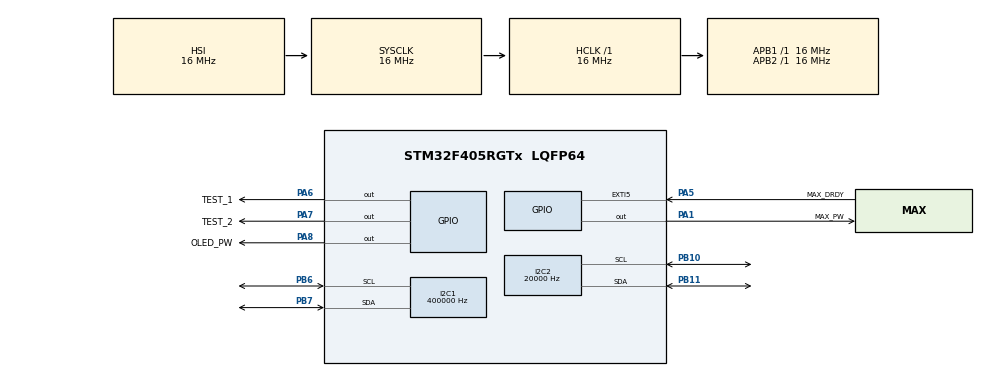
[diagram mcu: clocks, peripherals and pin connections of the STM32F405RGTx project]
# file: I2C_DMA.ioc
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Dma.I2C1_TX.0.Direction=DMA_MEMORY_TO_PERIPH
Dma.I2C1_TX.0.FIFOMode=DMA_FIFOMODE_DISABLE
Dma.I2C1_TX.0.Instance=DMA1_Stream6
Dma.I2C1_TX.0.MemDataAlignment=DMA_MDATAALIGN_BYTE
Dma.I2C1_TX.0.MemInc=DMA_MINC_ENABLE
Dma.I2C1_TX.0.Mode=DMA_NORMAL
Dma.I2C1_TX.0.PeriphDataAlignment=DMA_PDATAALIGN_BYTE
Dma.I2C1_TX.0.PeriphInc=DMA_PINC_DISABLE
Dma.I2C1_TX.0.Priority=DMA_PRIORITY_LOW
Dma.I2C2_TX.1.Direction=DMA_MEMORY_TO_PERIPH
Dma.I2C2_TX.1.FIFOMode=DMA_FIFOMODE_DISABLE
Dma.I2C2_TX.1.Instance=DMA1_Stream7
Dma.I2C2_TX.1.MemDataAlignment=DMA_MDATAALIGN_BYTE
Dma.I2C2_TX.1.MemInc=DMA_MINC_ENABLE
Dma.I2C2_TX.1.Mode=DMA_NORMAL
Dma.I2C2_TX.1.PeriphDataAlignment=DMA_PDATAALIGN_BYTE
Dma.I2C2_TX.1.PeriphInc=DMA_PINC_DISABLE
Dma.I2C2_TX.1.Priority=DMA_PRIORITY_LOW
Dma.Request0=I2C1_TX
Dma.Request1=I2C2_TX
I2C1.ClockSpeed=400000
I2C1.DutyCycle=I2C_DUTYCYCLE_2
I2C1.I2C_Mode=I2C_Fast
I2C2.ClockSpeed=20000
I2C2.DutyCycle=I2C_DUTYCYCLE_2
Mcu.Family=STM32F4
Mcu.Name=STM32F405RGTx
Mcu.Package=LQFP64
NVIC.DMA1_Stream6_IRQn=true\:0\:0\:false\:false\:true
NVIC.DMA1_Stream7_IRQn=true\:0\:0\:false\:false\:true
NVIC.EXTI9_5_IRQn=true\:0\:0\:false\:false\:true
NVIC.I2C1_ER_IRQn=true\:0\:0\:false\:false\:true
NVIC.I2C1_EV_IRQn=true\:0\:0\:false\:false\:true
NVIC.I2C2_ER_IRQn=true\:0\:0\:false\:false\:true
NVIC.I2C2_EV_IRQn=true\:0\:0\:false\:false\:true
NVIC.PriorityGroup=NVIC_PRIORITYGROUP_4
PA1.GPIO_Label=MAX_PW
PA1.PinState=GPIO_PIN_SET
PA1.Signal=GPIO_Output
PA5.GPIO_Label=MAX_DRDY
PA5.GPIO_ModeDefaultEXTI=GPIO_MODE_IT_FALLING
PA5.GPIO_PuPd=GPIO_PULLUP
PA5.Signal=GPXTI5
PA6.GPIO_Label=TEST_1
PA6.Signal=GPIO_Output
PA7.GPIO_Label=TEST_2
PA7.Signal=GPIO_Output
PA8.GPIO_Label=OLED_PW
PA8.PinState=GPIO_PIN_SET
PA8.Signal=GPIO_Output
PB10.Mode=I2C
PB10.Signal=I2C2_SCL
PB11.Mode=I2C
PB11.Signal=I2C2_SDA
PB6.Mode=I2C
PB6.Signal=I2C1_SCL
PB7.Mode=I2C
PB7.Signal=I2C1_SDA
ProjectManager.HeapSize=0x200
ProjectManager.StackSize=0x400
ProjectManager.TargetToolchain=MDK-ARM V5
RCC.AHBCLKDivider=RCC_SYSCLK_DIV1
RCC.AHBFreq_Value=16000000
RCC.APB1CLKDivider=RCC_HCLK_DIV1
RCC.APB1Freq_Value=16000000
RCC.APB1TimFreq_Value=16000000
RCC.APB2CLKDivider=RCC_HCLK_DIV1
RCC.APB2Freq_Value=16000000
RCC.APB2TimFreq_Value=16000000
RCC.ClockTypeHCLK=RCC_CLOCKTYPE_HCLK
RCC.ClockTypePCLK1=RCC_CLOCKTYPE_PCLK1
RCC.ClockTypePCLK2=RCC_CLOCKTYPE_PCLK2
RCC.ClockTypeSysClk=RCC_CLOCKTYPE_SYSCLK
RCC.CortexFreq_Value=16000000
RCC.EnableExtClockForI2S=false
RCC.EnableHSE=false
RCC.EnableHSERTCDevisor=false
RCC.EnableLSE=false
RCC.EnableLSERTC=false
RCC.ExtClockEnable=false
RCC.HCLKFreq_Value=16000000
RCC.HSEState=RCC_HSE_OFF
RCC.HSE_VALUE=25000000
RCC.HSIState=RCC_HSI_ON
RCC.HSI_VALUE=16000000
RCC.I2SEnable=false
RCC.IWDGEnable=false
RCC.LSE_VALUE=32768
RCC.LSIState=RCC_LSI_OFF
RCC.MCO1OutPutEnable=false
RCC.MCO2OutPutEnable=false
RCC.OscillatorTypeHSI=RCC_OSCILLATORTYPE_HSI
RCC.PLLSource=RCC_PLLSOURCE_HSI
RCC.PLLState=RCC_PLL_OFF
RCC.RNGEnable=false
RCC.RTCEnable=false
RCC.SDIOEnable=false
RCC.SYSCLKFreq_VALUE=16000000
RCC.SYSCLKSource=RCC_SYSCLKSOURCE_HSI
RCC.USBFSEnable=false
RCC.USBHSEnable=false
RCC.VCOOutputFreq_Value=192000000
board=I2C_DMA

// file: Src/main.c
/**
  ******************************************************************************
  * File Name          : main.c
  * Description        : Main program body
  ******************************************************************************
  *
  * COPYRIGHT(c) 2017 STMicroelectronics
  *
  * Redistribution and use in source and binary forms, with or without modification,
  * are permitted provided that the following conditions are met:
  *   1. Redistributions of source code must retain the above copyright notice,
  *      this list of conditions and the following disclaimer.
  *   2. Redistributions in binary form must reproduce the above copyright notice,
  *      this list of conditions and the following disclaimer in the documentation
  *      and/or other materials provided with the distribution.
  *   3. Neither the name of STMicroelectronics nor the names of its contributors
  *      may be used to endorse or promote products derived from this software
  *      without specific prior written permission.
  *
  * THIS SOFTWARE IS PROVIDED BY THE COPYRIGHT HOLDERS AND CONTRIBUTORS "AS IS"
  * AND ANY EXPRESS OR IMPLIED WARRANTIES, INCLUDING, BUT NOT LIMITED TO, THE
  * IMPLIED WARRANTIES OF MERCHANTABILITY AND FITNESS FOR A PARTICULAR PURPOSE ARE
  * DISCLAIMED. IN NO EVENT SHALL THE COPYRIGHT HOLDER OR CONTRIBUTORS BE LIABLE
  * FOR ANY DIRECT, INDIRECT, INCIDENTAL, SPECIAL, EXEMPLARY, OR CONSEQUENTIAL
  * DAMAGES (INCLUDING, BUT NOT LIMITED TO, PROCUREMENT OF SUBSTITUTE GOODS OR
  * SERVICES; LOSS OF USE, DATA, OR PROFITS; OR BUSINESS INTERRUPTION) HOWEVER
  * CAUSED AND ON ANY THEORY OF LIABILITY, WHETHER IN CONTRACT, STRICT LIABILITY,
  * OR TORT (INCLUDING NEGLIGENCE OR OTHERWISE) ARISING IN ANY WAY OUT OF THE USE
  * OF THIS SOFTWARE, EVEN IF ADVISED OF THE POSSIBILITY OF SUCH DAMAGE.
  *
  ******************************************************************************
  */
#include "main.h"
#include "stm32f4xx_hal.h"
#include "dma.h"
#include "i2c.h"
#include "gpio.h"

/* USER CODE BEGIN Includes */
#include "MAX3010x.h"
#include "ssd1306.h"
#include "fonts.h"
/* USER CODE END Includes */

/* USER CODE BEGIN PV */
/* Private variables ---------------------------------------------------------*/

/* USER CODE END PV */

void SystemClock_Config(void);
void Error_Handler(void);

/* USER CODE BEGIN PFP */
/* Private function prototypes -----------------------------------------------*/
void I2CMasterTransmitDMA(I2C_HandleTypeDef *hi2c, uint16_t DevAddress, uint8_t *pData, uint16_t Size);
//uint8_t readRegister8(uint8_t address, uint8_t reg);
//void writeRegister8(uint8_t address, uint8_t reg, uint8_t value);
//uint32_t readRegister8sh(uint8_t reg);
/* USER CODE END PFP */

/* USER CODE BEGIN 0 */
uint8_t dat[6]={3,4,5,6,7,8};
uint8_t txdat[5];
uint8_t ddat[127];
uint32_t dddat[16];
char buf[50];
bool _0x00 = false, _0x07 = false;
/* USER CODE END 0 */

int main(void)
{

  /* MCU Configuration----------------------------------------------------------*/

  /* Reset of all peripherals, Initializes the Flash interface and the Systick. */
  HAL_Init();

  /* Configure the system clock */
  SystemClock_Config();

  /* Initialize all configured peripherals */
  MX_GPIO_Init();
  MX_DMA_Init();
  MX_I2C1_Init();
  MX_I2C2_Init();

  /* USER CODE BEGIN 2 */

	HAL_Delay(1000);

	//I2CMasterTransmitDMA(&hi2c1, (uint16_t)MAX30105_ADDRESS<<1, (uint8_t*)dat, 5);
	SSD1306_Init();
	char str[] = "Hetrergfgffg";
	//SSD1306_Fill(1);
	SSD1306_Puts(str, &Font_7x10, 1);
	SSD1306_UpdateScreen();
	HAL_Delay(100);
	MAX30102Init();
	//I2CMasterTransmitDMA(&hi2c1, (uint16_t)MAX30105_ADDRESS<<1, (uint8_t*)dat, 5);
  /* USER CODE END 2 */

  /* Infinite loop */
  /* USER CODE BEGIN WHILE */
  while (1)
  {
		HAL_GPIO_WritePin(TEST_1_GPIO_Port, TEST_1_Pin, GPIO_PIN_SET);
		txdat[0]=0x00;
		HAL_I2C_Master_Transmit(&hi2c1, MAX30105_ADDRESS<<1, &txdat[0], 1, 100);

		HAL_I2C_Master_Receive(&hi2c1, MAX30105_ADDRESS<<1, &ddat[0], 1,100);
		txdat[0]=0x07;
		HAL_I2C_Master_Transmit(&hi2c1, MAX30105_ADDRESS<<1, &txdat[0], 1, 100);

		HAL_I2C_Master_Receive(&hi2c1, MAX30105_ADDRESS<<1, &ddat[0], 72,100);
		HAL_GPIO_WritePin(TEST_1_GPIO_Port, TEST_1_Pin, GPIO_PIN_RESET);
		//HAL_I2C_Master_Receive_DMA(&hi2c1, MAX30105_ADDRESS<<1, &ddat[0], 96);
		/*SSD1306_GotoXY(0, 0);
		SSD1306_Fill(SSD1306_COLOR_BLACK);
		sprintf(buf, "%d %d %d", ddat[0],ddat[1],ddat[2]);

		SSD1306_Puts(buf, &Font_7x10, 1);
		SSD1306_UpdateScreen();*/
		HAL_Delay(8);
		//HAL_GPIO_TogglePin(TEST_1_GPIO_Port, TEST_1_Pin);
  /* USER CODE END WHILE */

  }

}

/** System Clock Configuration
*/
void SystemClock_Config(void)
{

  RCC_OscInitTypeDef RCC_OscInitStruct;
  RCC_ClkInitTypeDef RCC_ClkInitStruct;

    /**Configure the main internal regulator output voltage
    */
  __HAL_RCC_PWR_CLK_ENABLE();

  __HAL_PWR_VOLTAGESCALING_CONFIG(PWR_REGULATOR_VOLTAGE_SCALE1);

    /**Initializes the CPU, AHB and APB busses clocks
    */
  RCC_OscInitStruct.OscillatorType = RCC_OSCILLATORTYPE_HSI;
  RCC_OscInitStruct.HSIState = RCC_HSI_ON;
  RCC_OscInitStruct.HSICalibrationValue = 16;
  RCC_OscInitStruct.PLL.PLLState = RCC_PLL_NONE;
  if (HAL_RCC_OscConfig(&RCC_OscInitStruct) != HAL_OK)
  {
    Error_Handler();
  }

    /**Initializes the CPU, AHB and APB busses clocks
    */
  RCC_ClkInitStruct.ClockType = RCC_CLOCKTYPE_HCLK|RCC_CLOCKTYPE_SYSCLK
                              |RCC_CLOCKTYPE_PCLK1|RCC_CLOCKTYPE_PCLK2;
  RCC_ClkInitStruct.SYSCLKSource = RCC_SYSCLKSOURCE_HSI;
  RCC_ClkInitStruct.AHBCLKDivider = RCC_SYSCLK_DIV1;
  RCC_ClkInitStruct.APB1CLKDivider = RCC_HCLK_DIV1;
  RCC_ClkInitStruct.APB2CLKDivider = RCC_HCLK_DIV1;

  if (HAL_RCC_ClockConfig(&RCC_ClkInitStruct, FLASH_LATENCY_0) != HAL_OK)
  {
    Error_Handler();
  }

    /**Configure the Systick interrupt time
    */
  HAL_SYSTICK_Config(HAL_RCC_GetHCLKFreq()/1000);

    /**Configure the Systick
    */
  HAL_SYSTICK_CLKSourceConfig(SYSTICK_CLKSOURCE_HCLK);

  /* SysTick_IRQn interrupt configuration */
  HAL_NVIC_SetPriority(SysTick_IRQn, 0, 0);
}

/* USER CODE BEGIN 4 */
void HAL_GPIO_EXTI_Callback(uint16_t GPIO_Pin)
{
	/*HAL_GPIO_WritePin(TEST_1_GPIO_Port, TEST_1_Pin, GPIO_PIN_SET);
	HAL_GPIO_WritePin(TEST_2_GPIO_Port, TEST_2_Pin, GPIO_PIN_SET);
	txdat[0] = 0x00;
	HAL_I2C_Master_Transmit_IT(&hi2c1, MAX30105_ADDRESS<<1, &txdat[0], 1);
	//HAL_I2C_Master_Receive_DMA(&hi2c1, MAX30105_ADDRESS<<1, &ddat[0], 3);
	_0x00 = true;
	_0x07 = false;
	HAL_GPIO_WritePin(TEST_1_GPIO_Port, TEST_1_Pin, GPIO_PIN_RESET);
	HAL_GPIO_WritePin(TEST_2_GPIO_Port, TEST_2_Pin, GPIO_PIN_RESET);*/
}
void HAL_I2C_MasterTxCpltCallback(I2C_HandleTypeDef *hi2c)
{
	/*if(_0x00 == true)
	{
		HAL_I2C_Master_Receive_IT(&hi2c1, MAX30105_ADDRESS<<1, &ddat[0], 1);
		//_0x00 = false;
	}
	else
//		while(
			HAL_I2C_Master_Receive_IT(&hi2c1, MAX30105_ADDRESS<<1, &ddat[0], 72);
//		!= HAL_OK)
		{

			if (HAL_I2C_GetError(&hi2c1) != HAL_I2C_ERROR_AF)
			{
				//Error_Handler();
			}
		}*/
	//HAL_I2C_Master_Receive_IT(&hi2c1, MAX30105_ADDRESS<<1, &ddat[0], 127);

}
void HAL_I2C_MasterRxCpltCallback(I2C_HandleTypeDef *hi2c)
{
	/*if(_0x00 == true)
	{
		_0x00 = false;
		txdat[0] = 0x07;
		HAL_I2C_Master_Transmit_IT(&hi2c1, MAX30105_ADDRESS<<1, &txdat[0], 1);
		_0x07 = true;
	}*/
	int i=0;
	for(i=0;i<16;i++)
	{
		dddat[i]=(ddat[3*i]<<16)|(ddat[3*i+1]<<8)|ddat[3*i+2];
	}
	//while(1);
}
void I2CMasterTransmitDMA(I2C_HandleTypeDef *hi2c, uint16_t DevAddress, uint8_t *pData, uint16_t Size)
{
	 while(HAL_I2C_Master_Transmit_DMA(hi2c, DevAddress, pData, Size)!= HAL_OK)
  {
    /* Error_Handler() function is called when Timeout error occurs.
       When Acknowledge failure occurs (Slave don't acknowledge it's address)
       Master restarts communication */
    if (HAL_I2C_GetError(hi2c) != HAL_I2C_ERROR_AF)
    {
      Error_Handler();
    }
  }
}
/*uint8_t readRegister8(uint8_t address, uint8_t reg)
{
	uint8_t addr = reg;
  uint8_t data = 0;
  uint8_t d;
  while (HAL_I2C_GetState(&hi2c1) != HAL_I2C_STATE_READY);
  d = HAL_I2C_Master_Transmit(&hi2c1, MAX30105_ADDRESS<<1, &addr, 1, 1000);
  if ( d != HAL_OK) {
      return d;
  }

  while (HAL_I2C_GetState(&hi2c1) != HAL_I2C_STATE_READY);
  d = HAL_I2C_Master_Receive(&hi2c1, MAX30105_ADDRESS<<1, &data, 1, 1000);
  if ( d != HAL_OK) {
      return d;
	}
  return data;
}
void writeRegister8(uint8_t address, uint8_t reg, uint8_t value)
{
uint8_t addr = reg, data = value;

  uint8_t buf[] = {addr, data};
  uint8_t d;
  while (HAL_I2C_GetState(&hi2c1) != HAL_I2C_STATE_READY);
  d = HAL_I2C_Master_Transmit(&hi2c1, MAX30105_ADDRESS<<1, buf, 2, 1000);
}
uint32_t readRegister8sh(uint8_t reg)
{
  uint8_t pData[3];
  uint8_t d;
  while (HAL_I2C_GetState(&hi2c1) != HAL_I2C_STATE_READY);
  d = HAL_I2C_Master_Transmit(&hi2c1, MAX30105_ADDRESS<<1, &reg, 1, 1000);
  if ( d != HAL_OK) {
      return d;
  }

  while (HAL_I2C_GetState(&hi2c1) != HAL_I2C_STATE_READY);
  d = HAL_I2C_Master_Receive(&hi2c1, MAX30105_ADDRESS<<1, &pData[0], 3, 1000);
  if ( d != HAL_OK) {
      return d;
	}
	return (((pData[0])<<16)|(pData[1]<<8)|(pData[2]));
}*/
/* USER CODE END 4 */

void Error_Handler(void)
{
  while(1)
  {
  }
}

/************************ (C) COPYRIGHT STMicroelectronics *****END OF FILE****/
